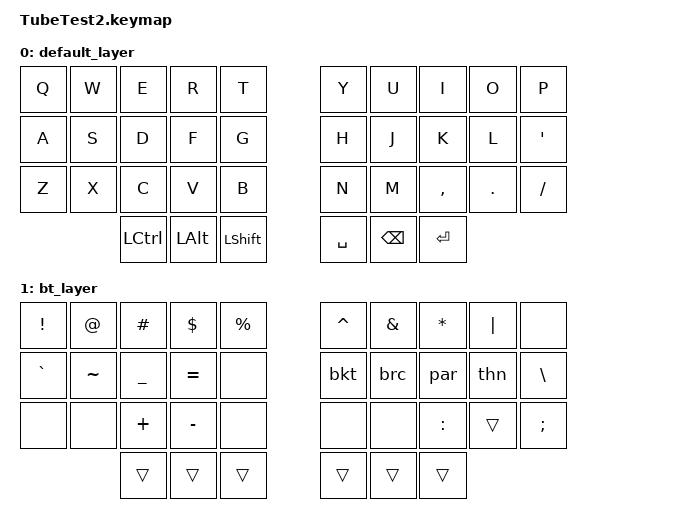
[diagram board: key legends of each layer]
#include <behaviors.dtsi>
#include <dt-bindings/zmk/keys.h>
#include <dt-bindings/zmk/bt.h>

/ {  
    keymap {
        compatible = "zmk,keymap";

        default_layer {
            bindings = <
                 &kp Q    &kp W          &kp E       &kp R       &kp T        &kp Y     &kp U            &kp I     &kp O    &kp P
                &kp A   &kp S          &kp D       &kp F       &kp G        &kp H     &kp J            &kp K     &kp L    &kp SQT
                &kp Z   &kp X         &kp C       &kp V       &kp B        &kp N     &kp M            &kp COMMA  &kp DOT  &kp SLASH
                                &kp LCTRL   &kp LALT  &kp LSHIFT     &kp SPACE  &kp BSPC  &kp RET      
        
            >;
        }; 
        
        bt_layer {
            bindings = <
               &kp EXCL    &kp AT      &kp HASH    &kp DLLR    &kp PRCNT   &kp CARET   &kp AMPS    &kp STAR    &kp PIPE    &none
                &kp GRAVE   &kp TILDE   &kp UNDER   &kp EQUAL   &none       &bkt        &brc        &par        &thn        &kp BSLH
                &none       &none       &kp PLUS    &kp MINUS   &none       &none       &none       &kp COLON   &trans     &kp SEMI
                                        &trans      &trans      &trans      &trans      &trans      &trans
            >;
        };
    };
};
